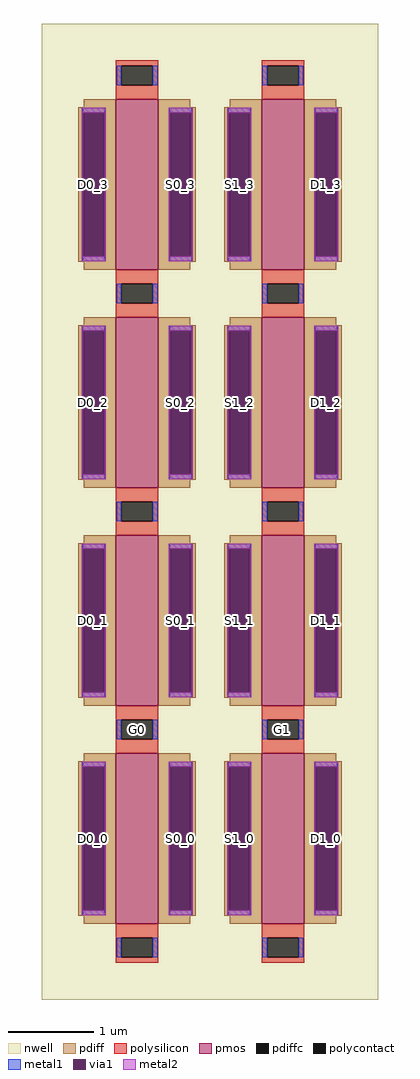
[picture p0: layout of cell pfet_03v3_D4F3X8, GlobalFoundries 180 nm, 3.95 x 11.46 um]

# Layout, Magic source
magic
tech gf180mcuD
magscale 1 10
<< nwell >>
rect -395 -1146 395 1146
<< pmos >>
rect -221 568 -121 968
rect 121 568 221 968
rect -221 56 -121 456
rect 121 56 221 456
rect -221 -456 -121 -56
rect 121 -456 221 -56
rect -221 -968 -121 -568
rect 121 -968 221 -568
<< pdiff >>
rect -296 949 -221 968
rect -309 936 -221 949
rect -309 600 -296 936
rect -250 600 -221 936
rect -309 587 -221 600
rect -296 568 -221 587
rect -121 949 -46 968
rect 46 949 121 968
rect -121 936 -33 949
rect -121 600 -92 936
rect -46 600 -33 936
rect -121 587 -33 600
rect 33 936 121 949
rect 33 600 46 936
rect 92 600 121 936
rect 33 587 121 600
rect -121 568 -46 587
rect 46 568 121 587
rect 221 949 296 968
rect 221 936 309 949
rect 221 600 250 936
rect 296 600 309 936
rect 221 587 309 600
rect 221 568 296 587
rect -296 437 -221 456
rect -309 424 -221 437
rect -309 88 -296 424
rect -250 88 -221 424
rect -309 75 -221 88
rect -296 56 -221 75
rect -121 437 -46 456
rect 46 437 121 456
rect -121 424 -33 437
rect -121 88 -92 424
rect -46 88 -33 424
rect -121 75 -33 88
rect 33 424 121 437
rect 33 88 46 424
rect 92 88 121 424
rect 33 75 121 88
rect -121 56 -46 75
rect 46 56 121 75
rect 221 437 296 456
rect 221 424 309 437
rect 221 88 250 424
rect 296 88 309 424
rect 221 75 309 88
rect 221 56 296 75
rect -296 -75 -221 -56
rect -309 -88 -221 -75
rect -309 -424 -296 -88
rect -250 -424 -221 -88
rect -309 -437 -221 -424
rect -296 -456 -221 -437
rect -121 -75 -46 -56
rect 46 -75 121 -56
rect -121 -88 -33 -75
rect -121 -424 -92 -88
rect -46 -424 -33 -88
rect -121 -437 -33 -424
rect 33 -88 121 -75
rect 33 -424 46 -88
rect 92 -424 121 -88
rect 33 -437 121 -424
rect -121 -456 -46 -437
rect 46 -456 121 -437
rect 221 -75 296 -56
rect 221 -88 309 -75
rect 221 -424 250 -88
rect 296 -424 309 -88
rect 221 -437 309 -424
rect 221 -456 296 -437
rect -296 -587 -221 -568
rect -309 -600 -221 -587
rect -309 -936 -296 -600
rect -250 -936 -221 -600
rect -309 -949 -221 -936
rect -296 -968 -221 -949
rect -121 -587 -46 -568
rect 46 -587 121 -568
rect -121 -600 -33 -587
rect -121 -936 -92 -600
rect -46 -936 -33 -600
rect -121 -949 -33 -936
rect 33 -600 121 -587
rect 33 -936 46 -600
rect 92 -936 121 -600
rect 33 -949 121 -936
rect -121 -968 -46 -949
rect 46 -968 121 -949
rect 221 -587 296 -568
rect 221 -600 309 -587
rect 221 -936 250 -600
rect 296 -936 309 -600
rect 221 -949 309 -936
rect 221 -968 296 -949
<< pdiffc >>
rect -296 600 -250 936
rect -92 600 -46 936
rect 46 600 92 936
rect 250 600 296 936
rect -296 88 -250 424
rect -92 88 -46 424
rect 46 88 92 424
rect 250 88 296 424
rect -296 -424 -250 -88
rect -92 -424 -46 -88
rect 46 -424 92 -88
rect 250 -424 296 -88
rect -296 -936 -250 -600
rect -92 -936 -46 -600
rect 46 -936 92 -600
rect 250 -936 296 -600
<< polysilicon >>
rect -221 1047 -121 1060
rect -221 1001 -208 1047
rect -134 1001 -121 1047
rect -221 968 -121 1001
rect 121 1047 221 1060
rect 121 1001 134 1047
rect 208 1001 221 1047
rect 121 968 221 1001
rect -221 535 -121 568
rect -221 489 -208 535
rect -134 489 -121 535
rect -221 456 -121 489
rect 121 535 221 568
rect 121 489 134 535
rect 208 489 221 535
rect 121 456 221 489
rect -221 23 -121 56
rect -221 -23 -208 23
rect -134 -23 -121 23
rect -221 -56 -121 -23
rect 121 23 221 56
rect 121 -23 134 23
rect 208 -23 221 23
rect 121 -56 221 -23
rect -221 -489 -121 -456
rect -221 -535 -208 -489
rect -134 -535 -121 -489
rect -221 -568 -121 -535
rect 121 -489 221 -456
rect 121 -535 134 -489
rect 208 -535 221 -489
rect 121 -568 221 -535
rect -221 -1001 -121 -968
rect -221 -1047 -208 -1001
rect -134 -1047 -121 -1001
rect -221 -1060 -121 -1047
rect 121 -1001 221 -968
rect 121 -1047 134 -1001
rect 208 -1047 221 -1001
rect 121 -1060 221 -1047
<< polycontact >>
rect -208 1001 -134 1047
rect 134 1001 208 1047
rect -208 489 -134 535
rect 134 489 208 535
rect -208 -23 -134 23
rect 134 -23 208 23
rect -208 -535 -134 -489
rect 134 -535 208 -489
rect -208 -1047 -134 -1001
rect 134 -1047 208 -1001
<< metal1 >>
rect -219 1001 -208 1047
rect -134 1001 -123 1047
rect 123 1001 134 1047
rect 208 1001 219 1047
rect -299 936 -247 948
rect -299 588 -247 600
rect -95 936 -43 948
rect -95 588 -43 600
rect 43 936 95 948
rect 43 588 95 600
rect 247 936 299 948
rect 247 588 299 600
rect -219 489 -208 535
rect -134 489 -123 535
rect 123 489 134 535
rect 208 489 219 535
rect -299 424 -247 436
rect -299 76 -247 88
rect -95 424 -43 436
rect -95 76 -43 88
rect 43 424 95 436
rect 43 76 95 88
rect 247 424 299 436
rect 247 76 299 88
rect -219 -23 -208 23
rect -134 -23 -123 23
rect 123 -23 134 23
rect 208 -23 219 23
rect -299 -88 -247 -76
rect -299 -436 -247 -424
rect -95 -88 -43 -76
rect -95 -436 -43 -424
rect 43 -88 95 -76
rect 43 -436 95 -424
rect 247 -88 299 -76
rect 247 -436 299 -424
rect -219 -535 -208 -489
rect -134 -535 -123 -489
rect 123 -535 134 -489
rect 208 -535 219 -489
rect -299 -600 -247 -588
rect -299 -948 -247 -936
rect -95 -600 -43 -588
rect -95 -948 -43 -936
rect 43 -600 95 -588
rect 43 -948 95 -936
rect 247 -600 299 -588
rect 247 -948 299 -936
rect -219 -1047 -208 -1001
rect -134 -1047 -123 -1001
rect 123 -1047 134 -1001
rect 208 -1047 219 -1001
<< via1 >>
rect -299 600 -296 936
rect -296 600 -250 936
rect -250 600 -247 936
rect -95 600 -92 936
rect -92 600 -46 936
rect -46 600 -43 936
rect 43 600 46 936
rect 46 600 92 936
rect 92 600 95 936
rect 247 600 250 936
rect 250 600 296 936
rect 296 600 299 936
rect -299 88 -296 424
rect -296 88 -250 424
rect -250 88 -247 424
rect -95 88 -92 424
rect -92 88 -46 424
rect -46 88 -43 424
rect 43 88 46 424
rect 46 88 92 424
rect 92 88 95 424
rect 247 88 250 424
rect 250 88 296 424
rect 296 88 299 424
rect -299 -424 -296 -88
rect -296 -424 -250 -88
rect -250 -424 -247 -88
rect -95 -424 -92 -88
rect -92 -424 -46 -88
rect -46 -424 -43 -88
rect 43 -424 46 -88
rect 46 -424 92 -88
rect 92 -424 95 -88
rect 247 -424 250 -88
rect 250 -424 296 -88
rect 296 -424 299 -88
rect -299 -936 -296 -600
rect -296 -936 -250 -600
rect -250 -936 -247 -600
rect -95 -936 -92 -600
rect -92 -936 -46 -600
rect -46 -936 -43 -600
rect 43 -936 46 -600
rect 46 -936 92 -600
rect 92 -936 95 -600
rect 247 -936 250 -600
rect 250 -936 296 -600
rect 296 -936 299 -600
<< metal2 >>
rect -301 936 -245 948
rect -301 600 -299 936
rect -247 600 -245 936
rect -301 588 -245 600
rect -97 936 -41 948
rect -97 600 -95 936
rect -43 600 -41 936
rect -97 588 -41 600
rect 41 936 97 948
rect 41 600 43 936
rect 95 600 97 936
rect 41 588 97 600
rect 245 936 301 948
rect 245 600 247 936
rect 299 600 301 936
rect 245 588 301 600
rect -301 424 -245 436
rect -301 88 -299 424
rect -247 88 -245 424
rect -301 76 -245 88
rect -97 424 -41 436
rect -97 88 -95 424
rect -43 88 -41 424
rect -97 76 -41 88
rect 41 424 97 436
rect 41 88 43 424
rect 95 88 97 424
rect 41 76 97 88
rect 245 424 301 436
rect 245 88 247 424
rect 299 88 301 424
rect 245 76 301 88
rect -301 -88 -245 -76
rect -301 -424 -299 -88
rect -247 -424 -245 -88
rect -301 -436 -245 -424
rect -97 -88 -41 -76
rect -97 -424 -95 -88
rect -43 -424 -41 -88
rect -97 -436 -41 -424
rect 41 -88 97 -76
rect 41 -424 43 -88
rect 95 -424 97 -88
rect 41 -436 97 -424
rect 245 -88 301 -76
rect 245 -424 247 -88
rect 299 -424 301 -88
rect 245 -436 301 -424
rect -301 -600 -245 -588
rect -301 -936 -299 -600
rect -247 -936 -245 -600
rect -301 -948 -245 -936
rect -97 -600 -41 -588
rect -97 -936 -95 -600
rect -43 -936 -41 -600
rect -97 -948 -41 -936
rect 41 -600 97 -588
rect 41 -936 43 -600
rect 95 -936 97 -600
rect 41 -948 97 -936
rect 245 -600 301 -588
rect 245 -936 247 -600
rect 299 -936 301 -600
rect 245 -948 301 -936
<< labels >>
rlabel pdiffc -273 -768 -273 -768 0 D0_0
port 1 nsew
rlabel pdiffc -69 -768 -69 -768 0 S0_0
port 2 nsew
rlabel polycontact -171 -512 -171 -512 0 G0
port 3 nsew
rlabel pdiffc -273 -256 -273 -256 0 D0_1
port 4 nsew
rlabel pdiffc -69 -256 -69 -256 0 S0_1
port 5 nsew
rlabel pdiffc -273 256 -273 256 0 D0_2
port 6 nsew
rlabel pdiffc -69 256 -69 256 0 S0_2
port 7 nsew
rlabel pdiffc -273 768 -273 768 0 D0_3
port 8 nsew
rlabel pdiffc -69 768 -69 768 0 S0_3
port 9 nsew
rlabel pdiffc 273 -768 273 -768 0 D1_0
port 10 nsew
rlabel pdiffc 69 -768 69 -768 0 S1_0
port 11 nsew
rlabel polycontact 171 -512 171 -512 0 G1
port 12 nsew
rlabel pdiffc 273 -256 273 -256 0 D1_1
port 13 nsew
rlabel pdiffc 69 -256 69 -256 0 S1_1
port 14 nsew
rlabel pdiffc 273 256 273 256 0 D1_2
port 15 nsew
rlabel pdiffc 69 256 69 256 0 S1_2
port 16 nsew
rlabel pdiffc 273 768 273 768 0 D1_3
port 17 nsew
rlabel pdiffc 69 768 69 768 0 S1_3
port 18 nsew
<< properties >>
string gencell pfet_03v3
string library gf180mcu
string parameters w 2.0 l 0.5 m 4 nf 2 diffcov 90 polycov 20 guard 0 glc 1 grc 1 gtc 0 gbc 0 tbcov 100 rlcov 100 topc 1 botc 1 poverlap 1 doverlap 0 lmin 0.28 wmin 0.22 class mosfet full_metal 0 viasrc 90 viadrn 90 viagate 0 viagb 0 viagr 0 viagl 0 viagt 0 doports 1 compatible {pfet_03v3 pfet_05v0 pfet_06v0}
<< end >>
